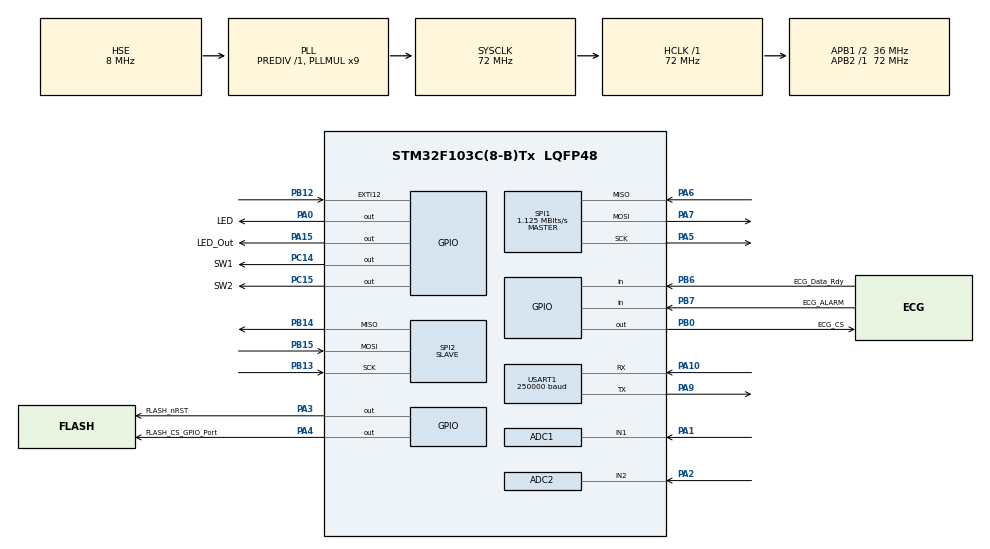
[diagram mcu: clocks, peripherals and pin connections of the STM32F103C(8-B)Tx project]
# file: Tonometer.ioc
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ADC1.Channel-0\#ChannelRegularConversion=ADC_CHANNEL_1
ADC1.ContinuousConvMode=DISABLE
ADC1.ExternalTrigConv=ADC_EXTERNALTRIGCONV_T3_TRGO
ADC1.NbrOfConversionFlag=1
ADC1.Rank-0\#ChannelRegularConversion=1
ADC1.SamplingTime-0\#ChannelRegularConversion=ADC_SAMPLETIME_1CYCLE_5
ADC1.master=1
ADC2.Channel-0\#ChannelRegularConversion=ADC_CHANNEL_2
ADC2.ContinuousConvMode=DISABLE
ADC2.ExternalTrigConv=ADC_EXTERNALTRIGCONV_T3_TRGO
ADC2.NbrOfConversionFlag=1
ADC2.Rank-0\#ChannelRegularConversion=1
ADC2.SamplingTime-0\#ChannelRegularConversion=ADC_SAMPLETIME_1CYCLE_5
Mcu.Family=STM32F1
Mcu.Name=STM32F103C(8-B)Tx
Mcu.Package=LQFP48
NVIC.ADC1_2_IRQn=true\:1\:0\:true\:false\:true\:true\:true\:true
NVIC.EXTI15_10_IRQn=true\:0\:0\:false\:false\:true\:true\:true\:true
NVIC.PriorityGroup=NVIC_PRIORITYGROUP_4
NVIC.SPI2_IRQn=true\:0\:0\:false\:false\:true\:true\:true\:true
NVIC.TIM1_UP_IRQn=true\:3\:0\:true\:false\:true\:true\:true\:true
NVIC.TIM2_IRQn=true\:3\:0\:true\:false\:true\:true\:true\:true
NVIC.TIM3_IRQn=true\:1\:0\:true\:false\:true\:true\:true\:true
NVIC.TIM4_IRQn=true\:1\:0\:true\:false\:true\:true\:true\:true
NVIC.USART1_IRQn=true\:2\:0\:true\:false\:true\:true\:true\:true
PA0-WKUP.GPIO_Label=LED
PA0-WKUP.Signal=GPIO_Output
PA1.Signal=ADCx_IN1
PA10.Mode=Asynchronous
PA10.Signal=USART1_RX
PA13.Mode=Serial_Wire
PA13.Signal=SYS_JTMS-SWDIO
PA14.Mode=Serial_Wire
PA14.Signal=SYS_JTCK-SWCLK
PA15.GPIO_Label=LED_Out
PA15.Signal=GPIO_Output
PA2.Signal=ADCx_IN2
PA3.GPIO_Label=FLASH_nRST
PA3.Signal=GPIO_Output
PA4.GPIO_Label=FLASH_CS_GPIO_Port
PA4.Signal=GPIO_Output
PA5.Mode=Full_Duplex_Master
PA5.Signal=SPI1_SCK
PA6.Mode=Full_Duplex_Master
PA6.Signal=SPI1_MISO
PA7.Mode=Full_Duplex_Master
PA7.Signal=SPI1_MOSI
PA9.Mode=Asynchronous
PA9.Signal=USART1_TX
PB0.GPIO_Label=ECG_CS
PB0.Signal=GPIO_Output
PB12.GPIO_ModeDefaultEXTI=GPIO_MODE_IT_FALLING
PB12.Signal=GPXTI12
PB13.Mode=Full_Duplex_Slave
PB13.Signal=SPI2_SCK
PB14.Mode=Full_Duplex_Slave
PB14.Signal=SPI2_MISO
PB15.Mode=Full_Duplex_Slave
PB15.Signal=SPI2_MOSI
PB6.GPIO_Label=ECG_Data_Rdy
PB6.Signal=GPIO_Input
PB7.GPIO_Label=ECG_ALARM
PB7.Signal=GPIO_Input
PC14-OSC32_IN.GPIO_Label=SW1
PC14-OSC32_IN.Signal=GPIO_Output
PC15-OSC32_OUT.GPIO_Label=SW2
PC15-OSC32_OUT.Signal=GPIO_Output
PD0-OSC_IN.Mode=HSE-External-Oscillator
PD0-OSC_IN.Signal=RCC_OSC_IN
PD1-OSC_OUT.Mode=HSE-External-Oscillator
PD1-OSC_OUT.Signal=RCC_OSC_OUT
ProjectManager.HeapSize=0x200
ProjectManager.StackSize=0x400
ProjectManager.TargetToolchain=STM32CubeIDE
RCC.ADCPresc=RCC_ADCPCLK2_DIV6
RCC.AHBFreq_Value=72000000
RCC.APB1CLKDivider=RCC_HCLK_DIV2
RCC.APB1Freq_Value=36000000
RCC.APB1TimFreq_Value=72000000
RCC.APB2Freq_Value=72000000
RCC.APB2TimFreq_Value=72000000
RCC.HCLKFreq_Value=72000000
RCC.PLLMUL=RCC_PLL_MUL9
RCC.PLLSourceVirtual=RCC_PLLSOURCE_HSE
RCC.SYSCLKFreq_VALUE=72000000
RCC.SYSCLKSource=RCC_SYSCLKSOURCE_PLLCLK
RCC.USBFreq_Value=72000000
SH.ADCx_IN1.0=ADC1_IN1,IN1
SH.ADCx_IN2.0=ADC2_IN2,IN2
SPI1.BaudRatePrescaler=SPI_BAUDRATEPRESCALER_64
SPI1.CalculateBaudRate=1.125 MBits/s
SPI1.Direction=SPI_DIRECTION_2LINES
SPI1.Mode=SPI_MODE_MASTER
SPI1.VirtualType=VM_MASTER
SPI2.Direction=SPI_DIRECTION_2LINES
SPI2.Mode=SPI_MODE_SLAVE
SPI2.VirtualType=VM_SLAVE
TIM1.Period=9
TIM1.Prescaler=7200
TIM2.ClockDivision=TIM_CLOCKDIVISION_DIV1
TIM2.Period=999
TIM2.Prescaler=65535
TIM2.TIM_MasterOutputTrigger=TIM_TRGO_RESET
TIM3.ClockDivision=TIM_CLOCKDIVISION_DIV2
TIM3.Period=10
TIM3.Prescaler=36000
TIM3.TIM_MasterOutputTrigger=TIM_TRGO_OC1
TIM4.ClockDivision=TIM_CLOCKDIVISION_DIV4
TIM4.Period=10000
TIM4.Prescaler=7200
TIM4.TIM_MasterOutputTrigger=TIM_TRGO_UPDATE
USART1.BaudRate=250000
USART1.VirtualMode=VM_ASYNC
VP_TIM1_VS_ClockSourceINT.Mode=Internal
VP_TIM2_VS_ClockSourceINT.Mode=Internal
VP_TIM3_VS_ClockSourceINT.Mode=Internal
VP_TIM4_VS_ClockSourceINT.Mode=Internal
board=custom

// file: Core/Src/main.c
/* USER CODE BEGIN Header */
/**
  ******************************************************************************
  * @file           : main.c
  * @brief          : Main program body
  ******************************************************************************
  * @attention
  *
  * Copyright (c) 2026 STMicroelectronics.
  * All rights reserved.
  *
  * This software is licensed under terms that can be found in the LICENSE file
  * in the root directory of this software component.
  * If no LICENSE file comes with this software, it is provided AS-IS.
  *
  ******************************************************************************
  */
/* USER CODE END Header */
#include "main.h"

/* USER CODE BEGIN Includes */
#include "stdbool.h"
#include "w25q_spi.h"
#include "SPI_connection.h"
#include "protocol_parser.h"
#include "tonometer_logic.h"
#include "exp_protocol.h"
/* USER CODE END Includes */

ADC_HandleTypeDef hadc1;
ADC_HandleTypeDef hadc2;

SPI_HandleTypeDef hspi1;
SPI_HandleTypeDef hspi2;

TIM_HandleTypeDef htim1;
TIM_HandleTypeDef htim2;
TIM_HandleTypeDef htim3;
TIM_HandleTypeDef htim4;

UART_HandleTypeDef huart1;

/* USER CODE BEGIN PV */
bool sw1,sw2 = 0;
extern w25_info_t  w25_info;
uint8_t rx_buf[1025];
uint8_t data_buf[256];
uint8_t tx_buf[10];
extern volatile uint16_t ADC_data;
char need_save = 0; // 0-idle, 1-save data
volatile uint16_t page_ptr = 0;
volatile char new_conv = 0; //new ADC conversion done
uint8_t res_buf[256] = {0};
uint8_t page_pos_ptr = 0; //ptr to free pos in page in WORDS
bool need_to_send = false;
/* USER CODE END PV */

void SystemClock_Config(void);
static void MX_GPIO_Init(void);
static void MX_SPI2_Init(void);
static void MX_USART1_UART_Init(void);
static void MX_SPI1_Init(void);
static void MX_TIM3_Init(void);
static void MX_ADC1_Init(void);
static void MX_ADC2_Init(void);
static void MX_TIM2_Init(void);
static void MX_TIM4_Init(void);
static void MX_TIM1_Init(void);

/* USER CODE BEGIN 0 */
void writeDataToFlash(int32_t spo2) {
	static union
	{
		uint16_t word;
		uint8_t bytes[2];
	} result_data;

	result_data.word = (uint16_t)(spo2);
	W25_Write_Page(result_data.bytes, page_ptr, page_pos_ptr*2, 2); //save 2 bytes to flash
	page_pos_ptr++;
	if (page_pos_ptr == 127) //page is full
	{
		page_ptr++;
		page_pos_ptr = 0;
	}
	HAL_GPIO_TogglePin(GPIOA, GPIO_PIN_2);
	return;
}

/* USER CODE END 0 */

int main(void)
{

  /* MCU Configuration--------------------------------------------------------*/

  /* Reset of all peripherals, Initializes the Flash interface and the Systick. */
  HAL_Init();

  /* Configure the system clock */
  SystemClock_Config();

  /* Initialize all configured peripherals */
  MX_GPIO_Init();
  MX_SPI2_Init();
  MX_USART1_UART_Init();
  MX_SPI1_Init();
  MX_TIM3_Init();
  MX_ADC1_Init();
  MX_ADC2_Init();
  MX_TIM2_Init();
  MX_TIM4_Init();
  MX_TIM1_Init();
  /* USER CODE BEGIN 2 */

  TM_init();
  uart_init();

  //TM_start();
  /* USER CODE END 2 */

  /* Infinite loop */
  /* USER CODE BEGIN WHILE */
  while (1)
  {

	if (uart1_rx_complete) {
		parser_exp();
	}

	if (need_to_send) {
		need_to_send = false;
		send_data(getADCVal());
	}

	  TM_Cycle();

//	  if(sw1) {
//		HAL_GPIO_WritePin(GPIOC, GPIO_PIN_14, GPIO_PIN_SET);
//	  } else {
//		  HAL_GPIO_WritePin(GPIOC, GPIO_PIN_14, GPIO_PIN_RESET);
//	  }

//	  if(sw2) {
//		HAL_GPIO_WritePin(GPIOC, GPIO_PIN_15, GPIO_PIN_SET);
//	  } else {
//		  HAL_GPIO_WritePin(GPIOC, GPIO_PIN_15, GPIO_PIN_RESET);
//	  }
    /* USER CODE END WHILE */

  }
}

void SystemClock_Config(void)
{
  RCC_OscInitTypeDef RCC_OscInitStruct = {0};
  RCC_ClkInitTypeDef RCC_ClkInitStruct = {0};
  RCC_PeriphCLKInitTypeDef PeriphClkInit = {0};

  /** Initializes the RCC Oscillators according to the specified parameters
  * in the RCC_OscInitTypeDef structure.
  */
  RCC_OscInitStruct.OscillatorType = RCC_OSCILLATORTYPE_HSE;
  RCC_OscInitStruct.HSEState = RCC_HSE_ON;
  RCC_OscInitStruct.HSEPredivValue = RCC_HSE_PREDIV_DIV1;
  RCC_OscInitStruct.HSIState = RCC_HSI_ON;
  RCC_OscInitStruct.PLL.PLLState = RCC_PLL_ON;
  RCC_OscInitStruct.PLL.PLLSource = RCC_PLLSOURCE_HSE;
  RCC_OscInitStruct.PLL.PLLMUL = RCC_PLL_MUL9;
  if (HAL_RCC_OscConfig(&RCC_OscInitStruct) != HAL_OK)
  {
    Error_Handler();
  }

  /** Initializes the CPU, AHB and APB buses clocks
  */
  RCC_ClkInitStruct.ClockType = RCC_CLOCKTYPE_HCLK|RCC_CLOCKTYPE_SYSCLK
                              |RCC_CLOCKTYPE_PCLK1|RCC_CLOCKTYPE_PCLK2;
  RCC_ClkInitStruct.SYSCLKSource = RCC_SYSCLKSOURCE_PLLCLK;
  RCC_ClkInitStruct.AHBCLKDivider = RCC_SYSCLK_DIV1;
  RCC_ClkInitStruct.APB1CLKDivider = RCC_HCLK_DIV2;
  RCC_ClkInitStruct.APB2CLKDivider = RCC_HCLK_DIV1;

  if (HAL_RCC_ClockConfig(&RCC_ClkInitStruct, FLASH_LATENCY_2) != HAL_OK)
  {
    Error_Handler();
  }
  PeriphClkInit.PeriphClockSelection = RCC_PERIPHCLK_ADC;
  PeriphClkInit.AdcClockSelection = RCC_ADCPCLK2_DIV6;
  if (HAL_RCCEx_PeriphCLKConfig(&PeriphClkInit) != HAL_OK)
  {
    Error_Handler();
  }
}

static void MX_ADC1_Init(void)
{

  ADC_ChannelConfTypeDef sConfig = {0};

  /** Common config
  */
  hadc1.Instance = ADC1;
  hadc1.Init.ScanConvMode = ADC_SCAN_DISABLE;
  hadc1.Init.ContinuousConvMode = DISABLE;
  hadc1.Init.DiscontinuousConvMode = DISABLE;
  hadc1.Init.ExternalTrigConv = ADC_EXTERNALTRIGCONV_T3_TRGO;
  hadc1.Init.DataAlign = ADC_DATAALIGN_RIGHT;
  hadc1.Init.NbrOfConversion = 1;
  if (HAL_ADC_Init(&hadc1) != HAL_OK)
  {
    Error_Handler();
  }

  /** Configure Regular Channel
  */
  sConfig.Channel = ADC_CHANNEL_1;
  sConfig.Rank = ADC_REGULAR_RANK_1;
  sConfig.SamplingTime = ADC_SAMPLETIME_1CYCLE_5;
  if (HAL_ADC_ConfigChannel(&hadc1, &sConfig) != HAL_OK)
  {
    Error_Handler();
  }

}

static void MX_ADC2_Init(void)
{

  ADC_ChannelConfTypeDef sConfig = {0};

  /** Common config
  */
  hadc2.Instance = ADC2;
  hadc2.Init.ScanConvMode = ADC_SCAN_DISABLE;
  hadc2.Init.ContinuousConvMode = DISABLE;
  hadc2.Init.DiscontinuousConvMode = DISABLE;
  hadc2.Init.ExternalTrigConv = ADC_EXTERNALTRIGCONV_T3_TRGO;
  hadc2.Init.DataAlign = ADC_DATAALIGN_RIGHT;
  hadc2.Init.NbrOfConversion = 1;
  if (HAL_ADC_Init(&hadc2) != HAL_OK)
  {
    Error_Handler();
  }

  /** Configure Regular Channel
  */
  sConfig.Channel = ADC_CHANNEL_2;
  sConfig.Rank = ADC_REGULAR_RANK_1;
  sConfig.SamplingTime = ADC_SAMPLETIME_1CYCLE_5;
  if (HAL_ADC_ConfigChannel(&hadc2, &sConfig) != HAL_OK)
  {
    Error_Handler();
  }

}

static void MX_SPI1_Init(void)
{

  /* SPI1 parameter configuration*/
  hspi1.Instance = SPI1;
  hspi1.Init.Mode = SPI_MODE_MASTER;
  hspi1.Init.Direction = SPI_DIRECTION_2LINES;
  hspi1.Init.DataSize = SPI_DATASIZE_8BIT;
  hspi1.Init.CLKPolarity = SPI_POLARITY_LOW;
  hspi1.Init.CLKPhase = SPI_PHASE_1EDGE;
  hspi1.Init.NSS = SPI_NSS_SOFT;
  hspi1.Init.BaudRatePrescaler = SPI_BAUDRATEPRESCALER_64;
  hspi1.Init.FirstBit = SPI_FIRSTBIT_MSB;
  hspi1.Init.TIMode = SPI_TIMODE_DISABLE;
  hspi1.Init.CRCCalculation = SPI_CRCCALCULATION_DISABLE;
  hspi1.Init.CRCPolynomial = 10;
  if (HAL_SPI_Init(&hspi1) != HAL_OK)
  {
    Error_Handler();
  }

}

static void MX_SPI2_Init(void)
{

  /* SPI2 parameter configuration*/
  hspi2.Instance = SPI2;
  hspi2.Init.Mode = SPI_MODE_SLAVE;
  hspi2.Init.Direction = SPI_DIRECTION_2LINES;
  hspi2.Init.DataSize = SPI_DATASIZE_8BIT;
  hspi2.Init.CLKPolarity = SPI_POLARITY_LOW;
  hspi2.Init.CLKPhase = SPI_PHASE_1EDGE;
  hspi2.Init.NSS = SPI_NSS_SOFT;
  hspi2.Init.FirstBit = SPI_FIRSTBIT_MSB;
  hspi2.Init.TIMode = SPI_TIMODE_DISABLE;
  hspi2.Init.CRCCalculation = SPI_CRCCALCULATION_DISABLE;
  hspi2.Init.CRCPolynomial = 10;
  if (HAL_SPI_Init(&hspi2) != HAL_OK)
  {
    Error_Handler();
  }
  /* USER CODE BEGIN SPI2_Init 2 */
  //__HAL_SPI_ENABLE_IT(&hspi2, SPI_IT_ERR);
  /* USER CODE END SPI2_Init 2 */

}

static void MX_TIM1_Init(void)
{

  TIM_ClockConfigTypeDef sClockSourceConfig = {0};
  TIM_MasterConfigTypeDef sMasterConfig = {0};

  htim1.Instance = TIM1;
  htim1.Init.Prescaler = 7200;
  htim1.Init.CounterMode = TIM_COUNTERMODE_UP;
  htim1.Init.Period = 9;
  htim1.Init.ClockDivision = TIM_CLOCKDIVISION_DIV1;
  htim1.Init.RepetitionCounter = 0;
  htim1.Init.AutoReloadPreload = TIM_AUTORELOAD_PRELOAD_DISABLE;
  if (HAL_TIM_Base_Init(&htim1) != HAL_OK)
  {
    Error_Handler();
  }
  sClockSourceConfig.ClockSource = TIM_CLOCKSOURCE_INTERNAL;
  if (HAL_TIM_ConfigClockSource(&htim1, &sClockSourceConfig) != HAL_OK)
  {
    Error_Handler();
  }
  sMasterConfig.MasterOutputTrigger = TIM_TRGO_RESET;
  sMasterConfig.MasterSlaveMode = TIM_MASTERSLAVEMODE_DISABLE;
  if (HAL_TIMEx_MasterConfigSynchronization(&htim1, &sMasterConfig) != HAL_OK)
  {
    Error_Handler();
  }

}

static void MX_TIM2_Init(void)
{

  TIM_ClockConfigTypeDef sClockSourceConfig = {0};
  TIM_MasterConfigTypeDef sMasterConfig = {0};

  htim2.Instance = TIM2;
  htim2.Init.Prescaler = 65535;
  htim2.Init.CounterMode = TIM_COUNTERMODE_UP;
  htim2.Init.Period = 999;
  htim2.Init.ClockDivision = TIM_CLOCKDIVISION_DIV1;
  htim2.Init.AutoReloadPreload = TIM_AUTORELOAD_PRELOAD_DISABLE;
  if (HAL_TIM_Base_Init(&htim2) != HAL_OK)
  {
    Error_Handler();
  }
  sClockSourceConfig.ClockSource = TIM_CLOCKSOURCE_INTERNAL;
  if (HAL_TIM_ConfigClockSource(&htim2, &sClockSourceConfig) != HAL_OK)
  {
    Error_Handler();
  }
  sMasterConfig.MasterOutputTrigger = TIM_TRGO_RESET;
  sMasterConfig.MasterSlaveMode = TIM_MASTERSLAVEMODE_DISABLE;
  if (HAL_TIMEx_MasterConfigSynchronization(&htim2, &sMasterConfig) != HAL_OK)
  {
    Error_Handler();
  }

}

static void MX_TIM3_Init(void)
{

  TIM_ClockConfigTypeDef sClockSourceConfig = {0};
  TIM_MasterConfigTypeDef sMasterConfig = {0};

  htim3.Instance = TIM3;
  htim3.Init.Prescaler = 36000;
  htim3.Init.CounterMode = TIM_COUNTERMODE_UP;
  htim3.Init.Period = 10;
  htim3.Init.ClockDivision = TIM_CLOCKDIVISION_DIV2;
  htim3.Init.AutoReloadPreload = TIM_AUTORELOAD_PRELOAD_DISABLE;
  if (HAL_TIM_Base_Init(&htim3) != HAL_OK)
  {
    Error_Handler();
  }
  sClockSourceConfig.ClockSource = TIM_CLOCKSOURCE_INTERNAL;
  if (HAL_TIM_ConfigClockSource(&htim3, &sClockSourceConfig) != HAL_OK)
  {
    Error_Handler();
  }
  sMasterConfig.MasterOutputTrigger = TIM_TRGO_OC1;
  sMasterConfig.MasterSlaveMode = TIM_MASTERSLAVEMODE_DISABLE;
  if (HAL_TIMEx_MasterConfigSynchronization(&htim3, &sMasterConfig) != HAL_OK)
  {
    Error_Handler();
  }

}

static void MX_TIM4_Init(void)
{

  TIM_ClockConfigTypeDef sClockSourceConfig = {0};
  TIM_MasterConfigTypeDef sMasterConfig = {0};

  htim4.Instance = TIM4;
  htim4.Init.Prescaler = 7200;
  htim4.Init.CounterMode = TIM_COUNTERMODE_UP;
  htim4.Init.Period = 10000;
  htim4.Init.ClockDivision = TIM_CLOCKDIVISION_DIV4;
  htim4.Init.AutoReloadPreload = TIM_AUTORELOAD_PRELOAD_DISABLE;
  if (HAL_TIM_Base_Init(&htim4) != HAL_OK)
  {
    Error_Handler();
  }
  sClockSourceConfig.ClockSource = TIM_CLOCKSOURCE_INTERNAL;
  if (HAL_TIM_ConfigClockSource(&htim4, &sClockSourceConfig) != HAL_OK)
  {
    Error_Handler();
  }
  sMasterConfig.MasterOutputTrigger = TIM_TRGO_UPDATE;
  sMasterConfig.MasterSlaveMode = TIM_MASTERSLAVEMODE_DISABLE;
  if (HAL_TIMEx_MasterConfigSynchronization(&htim4, &sMasterConfig) != HAL_OK)
  {
    Error_Handler();
  }

}

static void MX_USART1_UART_Init(void)
{

  huart1.Instance = USART1;
  huart1.Init.BaudRate = 250000;
  huart1.Init.WordLength = UART_WORDLENGTH_8B;
  huart1.Init.StopBits = UART_STOPBITS_1;
  huart1.Init.Parity = UART_PARITY_NONE;
  huart1.Init.Mode = UART_MODE_TX_RX;
  huart1.Init.HwFlowCtl = UART_HWCONTROL_NONE;
  huart1.Init.OverSampling = UART_OVERSAMPLING_16;
  if (HAL_UART_Init(&huart1) != HAL_OK)
  {
    Error_Handler();
  }

}

static void MX_GPIO_Init(void)
{
  GPIO_InitTypeDef GPIO_InitStruct = {0};

  /* GPIO Ports Clock Enable */
  __HAL_RCC_GPIOC_CLK_ENABLE();
  __HAL_RCC_GPIOD_CLK_ENABLE();
  __HAL_RCC_GPIOA_CLK_ENABLE();
  __HAL_RCC_GPIOB_CLK_ENABLE();

  /*Configure GPIO pin Output Level */
  HAL_GPIO_WritePin(GPIOC, SW1_Pin|SW2_Pin, GPIO_PIN_RESET);

  /*Configure GPIO pin Output Level */
  HAL_GPIO_WritePin(GPIOA, LED_Pin|FLASH_nRST_Pin|FLASH_CS_GPIO_Port_Pin|LED_Out_Pin, GPIO_PIN_RESET);

  /*Configure GPIO pin Output Level */
  HAL_GPIO_WritePin(ECG_CS_GPIO_Port, ECG_CS_Pin, GPIO_PIN_RESET);

  /*Configure GPIO pins : SW1_Pin SW2_Pin */
  GPIO_InitStruct.Pin = SW1_Pin|SW2_Pin;
  GPIO_InitStruct.Mode = GPIO_MODE_OUTPUT_PP;
  GPIO_InitStruct.Pull = GPIO_NOPULL;
  GPIO_InitStruct.Speed = GPIO_SPEED_FREQ_LOW;
  HAL_GPIO_Init(GPIOC, &GPIO_InitStruct);

  /*Configure GPIO pins : LED_Pin FLASH_nRST_Pin FLASH_CS_GPIO_Port_Pin LED_Out_Pin */
  GPIO_InitStruct.Pin = LED_Pin|FLASH_nRST_Pin|FLASH_CS_GPIO_Port_Pin|LED_Out_Pin;
  GPIO_InitStruct.Mode = GPIO_MODE_OUTPUT_PP;
  GPIO_InitStruct.Pull = GPIO_NOPULL;
  GPIO_InitStruct.Speed = GPIO_SPEED_FREQ_LOW;
  HAL_GPIO_Init(GPIOA, &GPIO_InitStruct);

  /*Configure GPIO pin : ECG_CS_Pin */
  GPIO_InitStruct.Pin = ECG_CS_Pin;
  GPIO_InitStruct.Mode = GPIO_MODE_OUTPUT_PP;
  GPIO_InitStruct.Pull = GPIO_NOPULL;
  GPIO_InitStruct.Speed = GPIO_SPEED_FREQ_LOW;
  HAL_GPIO_Init(ECG_CS_GPIO_Port, &GPIO_InitStruct);

  /*Configure GPIO pin : PB12 */
  GPIO_InitStruct.Pin = GPIO_PIN_12;
  GPIO_InitStruct.Mode = GPIO_MODE_IT_FALLING;
  GPIO_InitStruct.Pull = GPIO_NOPULL;
  HAL_GPIO_Init(GPIOB, &GPIO_InitStruct);

  /*Configure GPIO pins : ECG_Data_Rdy_Pin ECG_ALARM_Pin */
  GPIO_InitStruct.Pin = ECG_Data_Rdy_Pin|ECG_ALARM_Pin;
  GPIO_InitStruct.Mode = GPIO_MODE_INPUT;
  GPIO_InitStruct.Pull = GPIO_NOPULL;
  HAL_GPIO_Init(GPIOB, &GPIO_InitStruct);

  /* EXTI interrupt init*/
  HAL_NVIC_SetPriority(EXTI15_10_IRQn, 0, 0);
  HAL_NVIC_EnableIRQ(EXTI15_10_IRQn);

}

void Error_Handler(void)
{
  __disable_irq();
  while (1)
  {
  }
}
